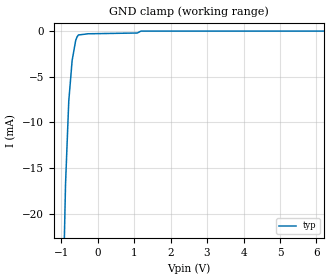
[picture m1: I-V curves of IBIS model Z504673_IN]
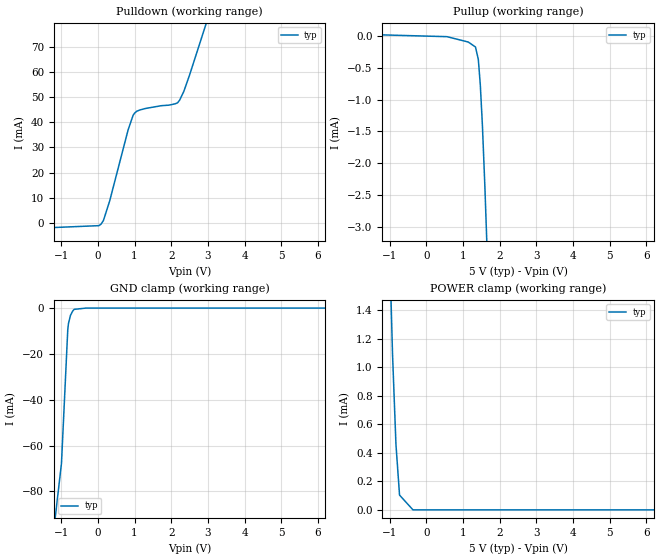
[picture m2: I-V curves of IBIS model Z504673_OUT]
| YOU ARE ONLY AUTHORIZED TO USE THIS SOFTWARE
| ACCORDING TO LICENSOR'S LICENSE RESTRICTIONS.
[IBIS Ver] 3.1
[File Name] sn74ls377dw.ibs
[File Rev] 2.0
[Source] Measured and created by ICX Technology
[Date] Friday 7/14/00 9:08:20 AM
[Copyright]
| (C) COPYRIGHT 1993-2000
| MENTOR GRAPHICS CORPORATION
| ICX STANDARD LIBRARY, ICX PROJECT MODELING,
| ICX CUSTOM MODELING, ICX VENDOR MODEL
| ALL RIGHTS RESERVED.
| THE FOLLOWING ARE TRADEMARKS OR SERVICE MARKS OF
| MENTOR GRAPHICS CORPORATION:ICX (R), ICX STANDARD
| LIBRARY(R), ICX PROJECT MODELING(R), ICX CUSTOM
| MODELING(R), qualityIBIS(TM), MODELVIEWER(TM),
| AND MODELEDITOR(TM)
| ALL COPIES OF SOFTWARE, INCLUDING BUT NOT LIMITED TO
| ANY MODIFICATIONS, ENHANCEMENTS OR DERIVATIVE WORKS,
| MUST CONTAIN ALL MENTOR GRAPHICS CORPORATION'S
| NOTICES AND LEGENDS, INCLUDING THOSE EMBEDDED IN
| SOFTWARE AND THOSE AFFIXED TO SOFTWARE MEDIUM
| AND CONTAINER, AS RECEIVED FROM MENTOR GRAPHICS
| CORPORATION.
|  ZAP Model Builder 2.7
[Component] SN74LS377DW
[Manufacturer] OnSemiconductor
[Package]
| variable   typ   min   max
R_pkg  .178ohms NA NA
L_pkg  4.43nH NA NA
C_pkg  .62pF NA NA
[Pin] signal_name  model_name  R_pin  L_pin C_pin
1 _G Z504673_IN .186 5.37n .68p
2 Q0 Z504673_OUT .182 4.89n .65p
3 D0 Z504673_IN .178 4.42n .62p
4 D1 Z504673_IN .174 3.96n .59p
5 Q1 Z504673_OUT .17 3.51n .56p
6 Q2 Z504673_OUT .17 3.51n .56p
7 D2 Z504673_IN .174 3.96n .59p
8 D3 Z504673_IN .178 4.42n .62p
9 Q3 Z504673_OUT .182 4.89n .65p
10 GND GND .186 5.37n .68p
11 CLK Z504673_IN .186 5.37n .68p
12 Q4 Z504673_OUT .182 4.89n .65p
13 D4 Z504673_IN .178 4.42n .62p
14 D5 Z504673_IN .174 3.96n .59p
15 Q5 Z504673_OUT .17 3.51n .56p
16 Q6 Z504673_OUT .17 3.51n .56p
17 D6 Z504673_IN .174 3.96n .59p
18 D7 Z504673_IN .178 4.42n .62p
19 Q7 Z504673_OUT .182 4.89n .65p
20 VCC POWER .186 5.37n .68p
| Models and submodels in the file (2): Z504673_IN (Input), Z504673_OUT (Output)
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| (C) COPYRIGHT 1993-2000
| MENTOR GRAPHICS CORPORATION
| ICX STANDARD LIBRARY, ICX PROJECT MODELING,
| ICX CUSTOM MODELING, ICX VENDOR MODEL
| ALL RIGHTS RESERVED.
| THE FOLLOWING ARE TRADEMARKS OR SERVICE MARKS OF
| MENTOR GRAPHICS CORPORATION:ICX (R), ICX STANDARD
| LIBRARY(R), ICX PROJECT MODELING(R), ICX CUSTOM
| MODELING(R), qualityIBIS(TM), MODELVIEWER(TM),
| AND MODELEDITOR(TM)
| ALL COPIES OF SOFTWARE, INCLUDING BUT NOT LIMITED TO
| ANY MODIFICATIONS, ENHANCEMENTS OR DERIVATIVE WORKS,
| MUST CONTAIN ALL MENTOR GRAPHICS CORPORATION'S
| NOTICES AND LEGENDS, INCLUDING THOSE EMBEDDED IN
| SOFTWARE AND THOSE AFFIXED TO SOFTWARE MEDIUM
| AND CONTAINER, AS RECEIVED FROM MENTOR GRAPHICS
| CORPORATION.
| Model Application Version 1.89 2/18/99.
[Model] Z504673_IN
Model_type Input
Vinl = 800.0mV
Vinh = 2.000V
C_comp 4.000pF NA NA
| variable typ   min   max
[Voltage Range] 5.000V NA NA
[GND Clamp Reference] 0.000V NA NA
[POWER Clamp Reference] 5.000V NA NA
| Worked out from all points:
|   GND clamp passes 1 mA (typ) near -0.60 V on its own axis
[GND Clamp]
-5V       -779.3mA   NA         NA
-878.9mV  -16.77mA   NA         NA
-790.4mV  -7.688mA   NA         NA
-698.1mV  -3.225mA   NA         NA
-600mV    -1.022mA   NA         NA
-563.5mV  -647.8uA   NA         NA
-527.3mV  -437.7uA   NA         NA
-263.7mV  -304.5uA   NA         NA
1.089V    -219.1uA   NA         NA
1.188V    -9.554uA   NA         NA
10V       -9.554uA   NA         NA
[POWER Clamp]
-5V       0A         NA         NA
10V       0A         NA         NA
| (C) COPYRIGHT 1993-2000
| MENTOR GRAPHICS CORPORATION
| ICX STANDARD LIBRARY, ICX PROJECT MODELING,
| ICX CUSTOM MODELING, ICX VENDOR MODEL
| ALL RIGHTS RESERVED.
| THE FOLLOWING ARE TRADEMARKS OR SERVICE MARKS OF
| MENTOR GRAPHICS CORPORATION:ICX (R), ICX STANDARD
| LIBRARY(R), ICX PROJECT MODELING(R), ICX CUSTOM
| MODELING(R), qualityIBIS(TM), MODELVIEWER(TM),
| AND MODELEDITOR(TM)
| ALL COPIES OF SOFTWARE, INCLUDING BUT NOT LIMITED TO
| ANY MODIFICATIONS, ENHANCEMENTS OR DERIVATIVE WORKS,
| MUST CONTAIN ALL MENTOR GRAPHICS CORPORATION'S
| NOTICES AND LEGENDS, INCLUDING THOSE EMBEDDED IN
| SOFTWARE AND THOSE AFFIXED TO SOFTWARE MEDIUM
| AND CONTAINER, AS RECEIVED FROM MENTOR GRAPHICS
| CORPORATION.
| Model Application Version 1.89 2/18/99.
[Model] Z504673_OUT
Model_type Output
Vref=5.000V
Rref=2.000kohms
Cref=15.00pF
Vmeas=1.300V
C_comp 8.000pF NA NA
| variable typ   min   max
[Voltage Range] 5.000V NA NA
[POWER Clamp Reference] 5.000V NA NA
[Pullup Reference] 5.000V NA NA
[Pulldown Reference] 0.000V NA NA
[GND Clamp Reference] 0.000V NA NA
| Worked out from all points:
|   slope of the pulldown table from 0 to 0.75 V, typ, clamps not added: 22.2 ohm
|   slope of the pullup table from 0 to 0.75 V, typ, clamps not added: 20.7 kohm
|   GND clamp passes 1 mA (typ) near -0.67 V on its own axis
|   POWER clamp passes 1 mA (typ) near -0.91 V on its own axis
[GND Clamp]
-5V       -751.2mA   NA         NA
-1.201V   -96.88mA   NA         NA
-991.2mV  -67.7mA    NA         NA
-819.8mV  -9.442mA   NA         NA
-800.8mV  -6.742mA   NA         NA
-745.9mV  -3.182mA   NA         NA
-683.6mV  -1.243mA   NA         NA
-644.6mV  -555.7uA   NA         NA
-322.3mV  0A         NA         NA
10V       0A         NA         NA
[Pulldown]
-5V       -4.026mA   NA         NA
29.3mV    -972.1uA   NA         NA
151.3mV   1.001mA    NA         NA
322.2mV   8.771mA    NA         NA
825.6mV   36.96mA    NA         NA
961.9mV   42.76mA    NA         NA
1.058V    44.34mA    NA         NA
1.141V    44.84mA    NA         NA
2.176V    47.74mA    NA         NA
2.346V    52.27mA    NA         NA
2.5V      58.64mA    NA         NA
10V       396.6mA    NA         NA
[Pullup]
-5V       76.34uA    NA         NA
562mV     -12.38uA   NA         NA
1.141V    -96.47uA   NA         NA
1.338V    -174.1uA   NA         NA
1.416V    -368.7uA   NA         NA
1.47V     -766.7uA   NA         NA
1.528V    -1.408mA   NA         NA
1.596V    -2.382mA   NA         NA
10V       -141.6mA   NA         NA
[POWER Clamp]
-5V       45mA       NA         NA
-1.035V   2.127mA    NA         NA
-923mV    1.09mA     NA         NA
-830mV    458.5uA    NA         NA
-732mV    103.6uA    NA         NA
-366mV    0A         NA         NA
10V       0A         NA         NA
[Ramp]
| variable typ min max
dV/dt_r 1.842/11.66n NA NA
dV/dt_f 1.842/2.348n NA NA
R_load = 500.0Ohms
